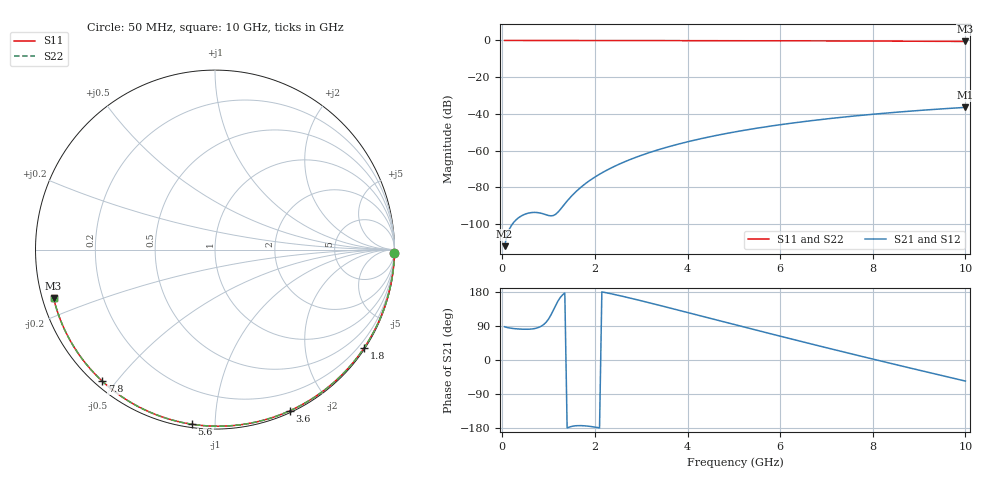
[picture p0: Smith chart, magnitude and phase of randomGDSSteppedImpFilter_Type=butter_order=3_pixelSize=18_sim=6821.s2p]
! freq	dB(S11)	phase(S11)	dB(S12)	phase(S12)
!  dB(S21)	phase(S21)	dB(S22)	phase(S22)
!S-par simulation data
#  GHz  S  DB  R 50
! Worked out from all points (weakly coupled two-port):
!   200 points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, 50 MHz to 10 GHz, reference 50 ohm
!   highest |S21| = -36.47 dB at 10 GHz (marker M1); lowest = -112.1 dB at 50 MHz (marker M2)
!   lowest |S11| = -0.5 dB at 10 GHz (marker M3), VSWR 31.95, Z = 1.6 - j7.39 ohm
!   |S11| at or under -10 dB: nowhere
!   |S22| runs from -0.5 to 0.0 dB; largest |S21 - S12| = 0
!   S11 on the Smith chart (normalised r, x): 50 MHz: open; 1.8 GHz: 0.03, -3.32; 3.6 GHz: 0.02, -1.57; 5.6 GHz: 0.02, -0.88; 7.8 GHz: 0.02, -0.46; 10 GHz: 0.03, -0.15
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0.05  -0.00 -0.9  -112.08 87.8  -112.08 87.8  -0.00 -0.9
0.45  -0.01 -8.5  -95.09 81.2  -95.09 81.2  -0.01 -8.5
0.85  -0.02 -16.0  -94.22 89.8  -94.22 89.8  -0.02 -16.0
1.65  -0.04 -30.8  -81.00 -173.2  -81.00 -173.2  -0.04 -30.8
1.7  -0.04 -31.7  -79.92 -173.2  -79.92 -173.2  -0.04 -31.7
1.75  -0.04 -32.6  -78.89 -173.5  -78.89 -173.5  -0.04 -32.6
1.8  -0.04 -33.5  -77.91 -173.9  -77.91 -173.9  -0.04 -33.5
2.1  -0.05 -38.9  -72.88 -179.1  -72.88 -179.1  -0.05 -38.9
2.3  -0.05 -42.5  -70.11 176.1  -70.11 176.1  -0.05 -42.5
2.5  -0.06 -46.1  -67.67 170.8  -67.67 170.8  -0.06 -46.1
2.9  -0.07 -53.1  -63.52 159.3  -63.52 159.3  -0.07 -53.1
3.4  -0.08 -61.7  -59.30 144.1  -59.30 144.1  -0.08 -61.7
3.6  -0.09 -65.1  -57.84 137.9  -57.84 137.9  -0.09 -65.1
4.3  -0.11 -76.8  -53.46 115.9  -53.46 115.9  -0.11 -76.8
5.05  -0.14 -88.9  -49.70 92.4  -49.70 92.4  -0.14 -88.9
5.6  -0.16 -97.5  -47.40 75.2  -47.40 75.2  -0.16 -97.5
6.15  -0.19 -106.0  -45.39 58.3  -45.39 58.3  -0.19 -106.0
6.7  -0.22 -114.3  -43.63 41.4  -43.63 41.4  -0.22 -114.3
7.8  -0.31 -130.5  -40.68 8.4  -40.68 8.4  -0.31 -130.5
8.35  -0.36 -138.6  -39.44 -7.9  -39.44 -7.9  -0.36 -138.6
9.2  -0.45 -151.2  -37.78 -32.6  -37.78 -32.6  -0.45 -151.2
10  -0.54 -163.2  -36.47 -55.6  -36.47 -55.6  -0.54 -163.2
